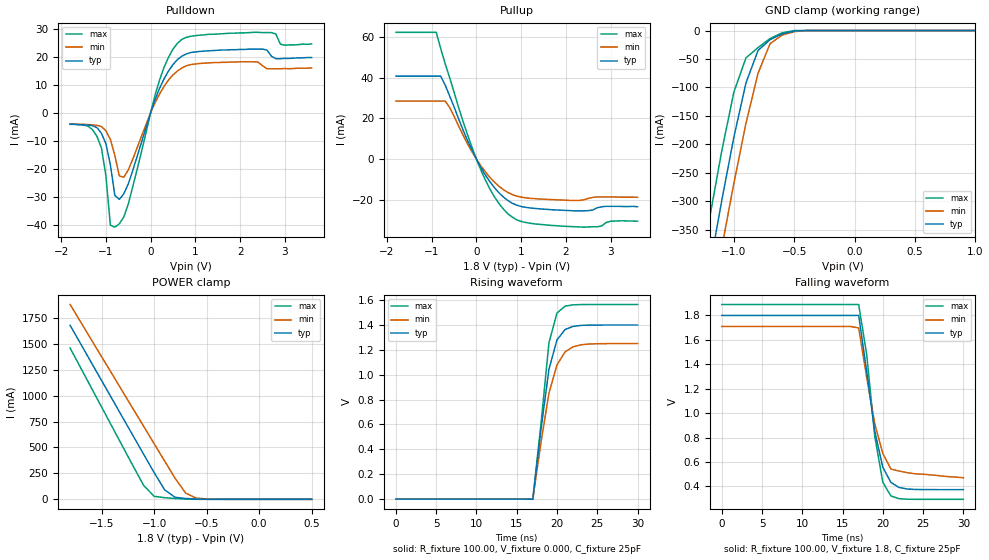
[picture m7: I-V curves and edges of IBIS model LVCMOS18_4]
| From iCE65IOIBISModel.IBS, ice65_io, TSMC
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|   Model LVCMOS18_4
[Model]   LVCMOS18_4
Model_type   I/O
Polarity   Non-Inverting
Enable   Active-High
Vinl =   0.63V
Vinh =   1.17V
Vmeas =   0.9V
Cref =  15.00pF
Rref =   1.00M
Vref =  0.000V
C_comp   1.30pF   1.17pF   1.43pF
[Temperature Range]   25.00   85   -40.00
[Voltage Range]   1.8V   1.71V   1.89V
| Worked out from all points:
|   slope of the pulldown table from 0 to 0.27 V, typ, clamps not added: 24.4 ohm
|   slope of the pullup table from 0 to 0.27 V, typ, clamps not added: 26.9 ohm
|   GND clamp passes 1 mA (typ) near -0.50 V on its own axis
|   POWER clamp passes 1 mA (typ) near -0.52 V on its own axis
|   rising waveform, R_fixture 100.00, V_fixture 0.000, C_fixture 25pF: 20-80 % time 1.81ns typ, 2.1ns min, 1.47ns max; typ from 0 V to 1.4 V
|   falling waveform, R_fixture 100.00, V_fixture 1.8, C_fixture 25pF: 20-80 % time 2.03ns typ, 2.22ns min, 1.75ns max; typ from 1.8 V to 0.373 V
[Pulldown]
| voltage I(typ) I(min) I(max)
-1.8V     -4mA       -3.9mA     -4mA
-1.2V     -5.2mA     -4.4mA     -8.3mA
-1.1V     -7.2mA     -4.8mA     -12.4mA
-1V       -10.9mA    -6.3mA     -22.3mA
-900mV    -18.4mA    -9.4mA     -40mA
-800mV    -29.4mA    -15.1mA    -40.7mA
-700mV    -30.8mA    -22.4mA    -39.5mA
-600mV    -28.8mA    -22.9mA    -37.1mA
200mV     8.8mA      6.8mA      11.8mA
600mV     19.1mA     15mA       24.9mA
2.4V      22.8mA     18.2mA     28.8mA
3.6V      19.8mA     16.1mA     24.7mA
[Pullup]
| voltage I(typ) I(min) I(max)
-1.8V     40.7mA     28.5mA     62.2mA
-900mV    40.7mA     28.5mA     62.2mA
-800mV    40.7mA     28.5mA     54.3mA
-700mV    36.4mA     28.5mA     46.8mA
-600mV    31mA       25.4mA     40mA
-300mV    14.3mA     11.8mA     18.5mA
0V        0A         0A         0A
300mV     -11mA      -8.9mA     -14.6mA
700mV     -20.2mA    -16.3mA    -26.7mA
1V        -23.2mA    -18.6mA    -30.5mA
1.9V      -25mA      -20mA      -32.8mA
3.6V      -23.3mA    -18.7mA    -30.4mA
[GND_clamp]
| voltage I(typ) I(min) I(max)
-1.8V     -1.146A    -1.208A    -1.081A
-1.3V     -535mA     -613mA     -451mA
-1.2V     -416mA     -496mA     -328mA
-1.1V     -298mA     -381mA     -211mA
-1V       -187mA     -268mA     -108mA
-900mV    -92mA      -163mA     -48mA
-800mV    -35mA      -75mA      -30mA
-700mV    -16mA      -23mA      -14mA
-600mV    -6mA       -8mA       -4mA
-500mV    -1mA       -2mA       0A
-400mV    0A         0A         0A
1V        0A         0A         0A
[POWER_clamp]
| voltage I(typ) I(min) I(max)
-1.8V     1.678A     1.879A     1.459A
-1.1V     435.4mA    704.5mA    134.7mA
-1V       258mA      537mA      29mA
-900mV    91.9mA     369.4mA    15.9mA
-800mV    19.3mA     202.3mA    8.1mA
-700mV    8.3mA      60.5mA     2.4mA
-600mV    3.1mA      11.7mA     200uA
-400mV    100uA      900uA      100uA
500mV     0A         0A         0A
[Ramp]
| variable   typ   min   max
dV/dt_r   0.8394/1.648n   0.75/1.955n   0.9384/1.307n
dV/dt_f   0.85614/2.231n   0.757848/2.6322n   0.957798/2.2488n
R_load = 100
[Rising Waveform]
R_fixture = 100.00
V_fixture = 0.000
V_fixture_min = 0.000
V_fixture_max = 0.000
L_fixture = 0.000H
C_fixture = 25pF
| time   V(typ)   V(min)   V(max)
0s        0V         0V         0V
17ns      -2mV       0V         0V
18ns      552.6mV    450.6mV    597.3mV
19ns      1.043V     851.1mV    1.256V
20ns      1.28V      1.079V     1.496V
21ns      1.363V     1.183V     1.55V
22ns      1.389V     1.224V     1.562V
23ns      1.396V     1.24V      1.564V
24ns      1.399V     1.246V     1.564V
30ns      1.399V     1.25V      1.564V
[Falling Waveform]
R_fixture = 100.00
V_fixture = 1.8
V_fixture_min = 1.71
V_fixture_max = 1.89
L_fixture = 0.000H
C_fixture = 25pF
| time   V(typ)   V(min)   V(max)
0s        1.8V       1.71V      1.89V
16ns      1.8V       1.71V      1.89V
17ns      1.801V     1.698V     1.89V
18ns      1.337V     1.29V      1.477V
19ns      849mV      911.9mV    807.9mV
20ns      555.7mV    668.9mV    432.7mV
21ns      432.4mV    542.1mV    321.7mV
22ns      391.1mV    525.5mV    298.9mV
24ns      374.6mV    502.9mV    293.8mV
30ns      373.1mV    470.4mV    293.6mV
